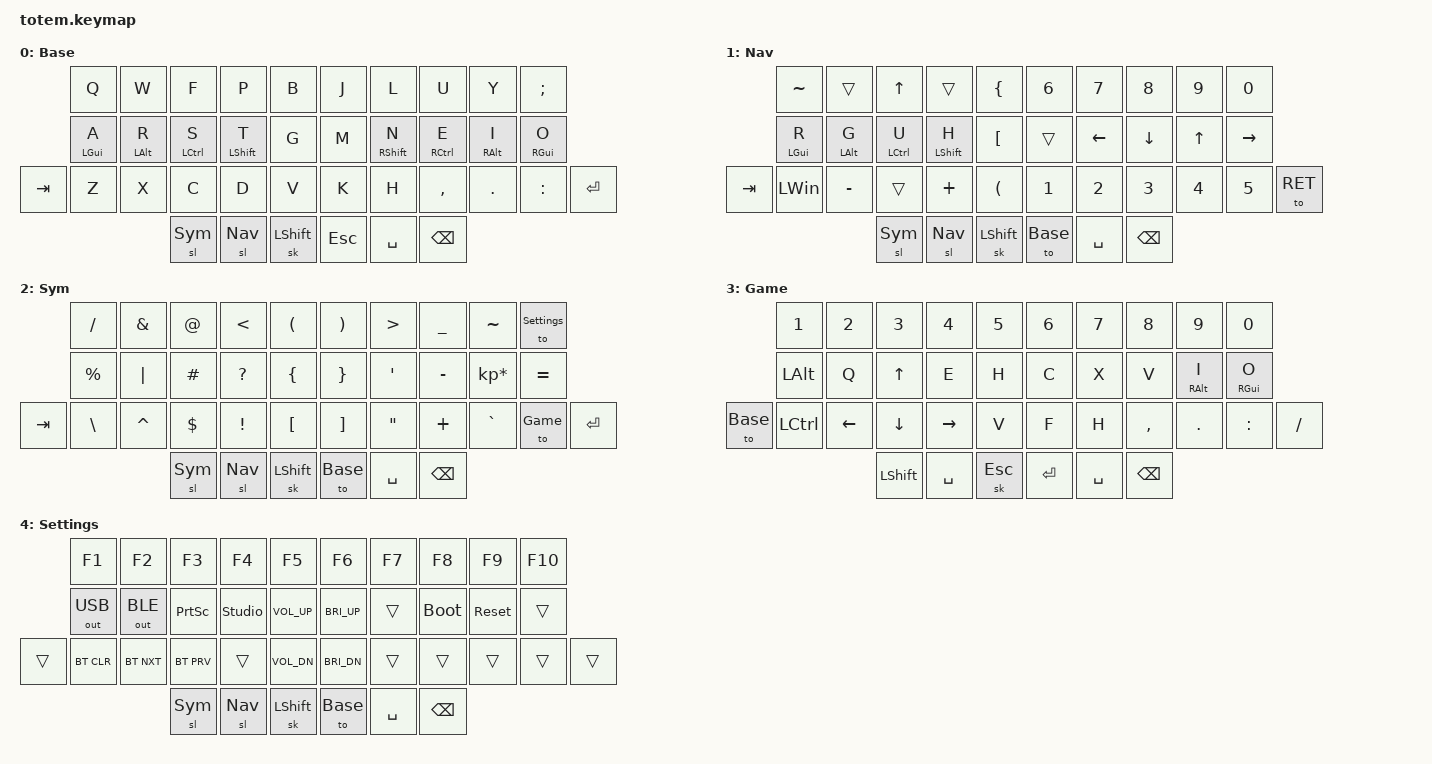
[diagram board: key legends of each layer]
//
//                                                        ▀▀▀▀▀     ▀▀▀▀▀          ▀▀█▀▀
//                                                        ▄▀▀▀▄  ▄  ▄▀▀▀▄  ▄  ▄▀▀▀▄  █  ▄▀▀▀▄
//                                                        █   █  █  █   █  █  █   █  █  █   █
//                                                         ▀▀▀   █   ▀▀▀   █   ▀▀▀   ▀   ▀▀▀
//                                                               █      ▄▄▄█▄▄▄    █   █
//                                                               ▀      █  █  █     █▄█
//                                                             ▀▀▀▀▀    █  █  █      ▀
//                                                                      ▀  ▀  ▀
//
// ▄▄▄▄▄▄▄▄▄▄▄▄▄▄▄▄▄▄▄▄▄▄▄▄▄▄▄▄▄▄▄▄▄▄▄▄▄▄▄▄▄▄▄▄▄▄▄▄▄▄▄▄▄▄▄▄▄▄▄▄▄▄▄▄▄▄▄▄▄▄▄▄▄▄▄▄▄▄▄▄▄▄▄▄▄▄▄▄▄▄▄▄▄▄▄▄▄▄▄▄▄▄▄▄▄▄▄▄▄▄▄▄▄▄▄▄▄▄▄▄▄▄▄▄▄▄▄▄▄▄▄▄▄▄▄▄▄▄▄▄▄▄▄▄▄▄▄▄▄

#include "zmk-helpers/key-labels/totem.h"
#include <dt-bindings/zmk/outputs.h>
#include <dt-bindings/zmk/bt.h>

/*                                      38 KEY MATRIX / LAYOUT MAPPING

    ╭────────────────────┬────────────────────╮        ╭──────────────────────┬─────────────────────╮
    │  0   1   2   3   4 │  5   6   7   8   9 │        │  LT4 LT3 LT2 LT1 LT0 │ RT0 RT1 RT2 RT3 RT4 │
 ╭──╯ 10  11  12  13  14 │ 15  16  17  18  19 ╰───╮ ╭──╯  LM4 LM3 LM2 LM1 LM0 │ RM0 RM1 RM2 RM3 RM4 ╰───╮
 │ 20 21  22  23  24  25 │ 26  27  28  29  30  31 │ │ LB5 LB4 LB3 LB2 LB1 LB0 │ RB0 RB1 RB2 RB3 RB4 RB5 │
 ╰──────────╮ 32  33  34 │ 35  36  37 ╭───────────╯ ╰──────────╮  LH2 LH1 LH0 │ RH0 RH1 RH2 ╭───────────╯
            ╰────────────┴────────────╯                        ╰──────────────┴─────────────╯
*/

#define KEYS_L LT0 LT1 LT2 LT3 LT4 LM0 LM1 LM2 LM3 LM4 LB0 LB1 LB2 LB3 LB4 LB5
#define KEYS_R RT0 RT1 RT2 RT3 RT4 RM0 RM1 RM2 RM3 RM4 RB0 RB1 RB2 RB3 RB4 RB5
#define KEYS_T LH2 LH1 LH0 RH0 RH1 RH2

#include <behaviors.dtsi>
#include <dt-bindings/zmk/keys.h>

#define Base        0
#define Nav         1
#define Sym         2
#define Game        3
#define Settings    4

&sk {
    quick-release;
};

/ {
    behaviors {
        hml: homerow_mods_left {
            compatible = "zmk,behavior-hold-tap";
            #binding-cells = <2>;
            bindings = <&kp>,  <&kp>;

            flavor = "balanced";
            tapping-term-ms = <280>;
            quick-tap-ms = <175>;
            require-prior-idle-ms = <150>;

            hold-trigger-key-positions = <KEYS_R KEYS_T>;
            hold-trigger-on-release;
        };

        hmr: homerow_mods_right {
            compatible = "zmk,behavior-hold-tap";
            #binding-cells = <2>;
            bindings = <&kp>, <&kp>;

            flavor = "balanced";
            tapping-term-ms = <280>;
            quick-tap-ms = <175>;
            require-prior-idle-ms = <150>;

            hold-trigger-key-positions = <KEYS_L KEYS_T>;
            hold-trigger-on-release;
        };
    };

    combos { compatible = "zmk,combos"; };

    keymap {
        compatible = "zmk,keymap";

        Base {
            display-name = "Base";
            bindings = <
              &kp Q         &kp W           &kp F           &kp P           &kp B               &kp J       &kp L           &kp U           &kp Y           &kp SEMICOLON
              &hml LGUI A   &hml LALT R     &hml LCTRL S    &hml LSHIFT T   &kp G               &kp M       &hmr RSHFT N    &hmr RCTRL E    &hmr RALT I     &hmr RGUI O
&kp TAB       &kp Z         &kp X           &kp C           &kp D           &kp V               &kp K       &kp H           &kp COMMA       &kp DOT         &kp COLON       &kp RET
                                            &sl Sym         &sl Nav         &sk LSHIFT          &kp ESCAPE  &kp SPACE       &kp BSPC
            >;
        };

        Nav {
            display-name = "Nav";
            bindings = <
              &kp TILDE     &trans          &kp UP_ARROW    &trans          &kp LBRC            &kp N6      &kp N7          &kp N8          &kp N9          &kp N0
              &hml LGUI R   &hml LALT G     &hml LCTRL U    &hml LSHIFT H   &kp LBKT            &trans      &kp LEFT        &kp DOWN        &kp UP          &kp RIGHT
&kp TAB       &kp LEFT_WIN  &kp MINUS       &trans          &kp PLUS        &kp LPAR            &kp N1      &kp N2          &kp N3          &kp N4          &kp N5          &to RET
                                            &sl Sym         &sl Nav         &sk LSHIFT          &to Base    &kp SPACE       &kp BSPC
            >;
        };

        Sym {
            display-name = "Sym";
            bindings = <
              &kp FSLH      &kp AMPERSAND   &kp AT          &kp LT          &kp LPAR            &kp RPAR    &kp GT          &kp UNDER       &kp TILDE       &to Settings
              &kp PERCENT   &kp PIPE        &kp HASH        &kp QMARK       &kp LBRC            &kp RBRC    &kp SQT         &kp MINUS       &kp KP_ASTERISK &kp EQUAL
&kp TAB       &kp BSLH      &kp CARET       &kp DOLLAR      &kp EXCL        &kp LBKT            &kp RBKT    &kp DQT         &kp PLUS        &kp GRAVE       &to Game        &kp RET
                                            &sl Sym         &sl Nav         &sk LSHIFT          &to Base    &kp SPACE       &kp BSPC
            >;
        };

        Game {
            display-name = "Game";
            bindings = <
              &kp N1        &kp N2          &kp N3          &kp N4          &kp N5              &kp N6      &kp N7          &kp N8          &kp N9          &kp N0
              &kp LALT      &kp Q           &kp UP          &kp E           &kp H               &kp C       &kp X           &kp V           &hmr RALT I     &hmr RGUI O
&to Base      &kp LCTRL     &kp LEFT        &kp DOWN        &kp RIGHT       &kp V               &kp F       &kp H           &kp COMMA       &kp DOT         &kp COLON       &kp FSLH
                                            &kp LSHIFT      &kp SPACE       &sk ESCAPE          &kp RET     &kp SPACE       &kp BSPC
            >;
        };

        Settings {
            display-name = "Settings";
            bindings = <
              &kp F1        &kp F2          &kp F3          &kp F4          &kp F5              &kp F6       &kp F7          &kp F8          &kp F9          &kp F10
              &out OUT_USB  &out OUT_BLE    &kp PRINTSCREEN &studio_unlock  &kp C_VOL_UP        &kp C_BRI_UP &trans         &bootloader     &sys_reset      &trans
&trans        &bt BT_CLR    &bt BT_NXT      &bt BT_PRV      &trans          &kp C_VOL_DN        &kp C_BRI_DN &trans         &trans          &trans          &trans          &trans
                                            &sl Sym         &sl Nav         &sk LSHIFT          &to Base     &kp SPACE       &kp BSPC
            >;
        };
    };
};
